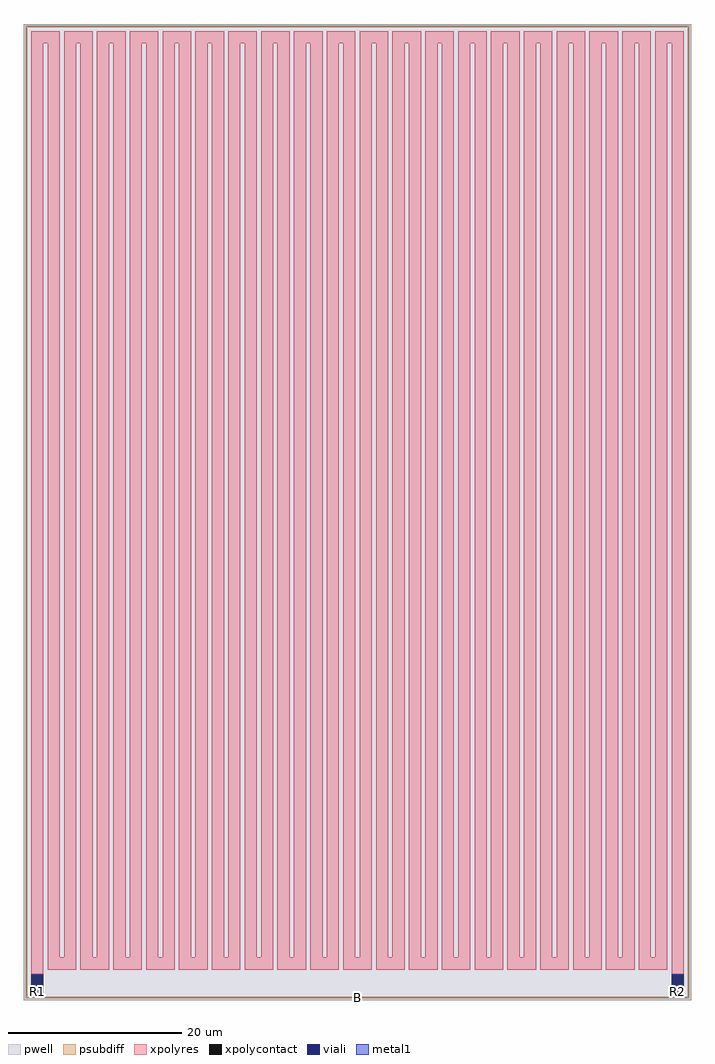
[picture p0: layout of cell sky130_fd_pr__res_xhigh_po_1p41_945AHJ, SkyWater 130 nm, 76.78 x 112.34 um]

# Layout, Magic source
magic
tech sky130A
magscale 1 2
<< pwell >>
rect -7678 -11234 7678 11234
<< psubdiff >>
rect -7642 11164 7642 11198
rect -7642 -11164 -7608 11164
rect 7608 -11164 7642 11164
rect -7642 -11198 7642 -11164
<< xpolycontact >>
rect -7512 -11068 -7230 -10636
rect 7230 -11068 7512 -10636
<< xpolyres >>
rect -7512 10786 -6852 11068
rect -7512 -10636 -7230 10786
rect -7134 -10250 -6852 10786
rect -6756 10786 -6096 11068
rect -6756 -10250 -6474 10786
rect -7134 -10532 -6474 -10250
rect -6378 -10250 -6096 10786
rect -6000 10786 -5340 11068
rect -6000 -10250 -5718 10786
rect -6378 -10532 -5718 -10250
rect -5622 -10250 -5340 10786
rect -5244 10786 -4584 11068
rect -5244 -10250 -4962 10786
rect -5622 -10532 -4962 -10250
rect -4866 -10250 -4584 10786
rect -4488 10786 -3828 11068
rect -4488 -10250 -4206 10786
rect -4866 -10532 -4206 -10250
rect -4110 -10250 -3828 10786
rect -3732 10786 -3072 11068
rect -3732 -10250 -3450 10786
rect -4110 -10532 -3450 -10250
rect -3354 -10250 -3072 10786
rect -2976 10786 -2316 11068
rect -2976 -10250 -2694 10786
rect -3354 -10532 -2694 -10250
rect -2598 -10250 -2316 10786
rect -2220 10786 -1560 11068
rect -2220 -10250 -1938 10786
rect -2598 -10532 -1938 -10250
rect -1842 -10250 -1560 10786
rect -1464 10786 -804 11068
rect -1464 -10250 -1182 10786
rect -1842 -10532 -1182 -10250
rect -1086 -10250 -804 10786
rect -708 10786 -48 11068
rect -708 -10250 -426 10786
rect -1086 -10532 -426 -10250
rect -330 -10250 -48 10786
rect 48 10786 708 11068
rect 48 -10250 330 10786
rect -330 -10532 330 -10250
rect 426 -10250 708 10786
rect 804 10786 1464 11068
rect 804 -10250 1086 10786
rect 426 -10532 1086 -10250
rect 1182 -10250 1464 10786
rect 1560 10786 2220 11068
rect 1560 -10250 1842 10786
rect 1182 -10532 1842 -10250
rect 1938 -10250 2220 10786
rect 2316 10786 2976 11068
rect 2316 -10250 2598 10786
rect 1938 -10532 2598 -10250
rect 2694 -10250 2976 10786
rect 3072 10786 3732 11068
rect 3072 -10250 3354 10786
rect 2694 -10532 3354 -10250
rect 3450 -10250 3732 10786
rect 3828 10786 4488 11068
rect 3828 -10250 4110 10786
rect 3450 -10532 4110 -10250
rect 4206 -10250 4488 10786
rect 4584 10786 5244 11068
rect 4584 -10250 4866 10786
rect 4206 -10532 4866 -10250
rect 4962 -10250 5244 10786
rect 5340 10786 6000 11068
rect 5340 -10250 5622 10786
rect 4962 -10532 5622 -10250
rect 5718 -10250 6000 10786
rect 6096 10786 6756 11068
rect 6096 -10250 6378 10786
rect 5718 -10532 6378 -10250
rect 6474 -10250 6756 10786
rect 6852 10786 7512 11068
rect 6852 -10250 7134 10786
rect 6474 -10532 7134 -10250
rect 7230 -10636 7512 10786
<< viali >>
rect -7496 -11050 -7246 -10653
rect 7246 -11050 7496 -10653
<< metal1 >>
rect -7502 -10653 -7240 -10641
rect -7502 -11050 -7496 -10653
rect -7246 -11050 -7240 -10653
rect -7502 -11062 -7240 -11050
rect 7240 -10653 7502 -10641
rect 7240 -11050 7246 -10653
rect 7496 -11050 7502 -10653
rect 7240 -11062 7502 -11050
<< labels >>
rlabel psubdiff 0 -11181 0 -11181 0 B
port 1 nsew
rlabel xpolycontact -7371 -11033 -7371 -11033 0 R1
port 2 nsew
rlabel xpolycontact 7371 -11033 7371 -11033 0 R2
port 3 nsew
<< properties >>
string FIXED_BBOX -7625 -11181 7625 11181
string gencell sky130_fd_pr__res_xhigh_po_1p41
string library sky130
string parameters w 1.410 l 108.0 m 1 nx 40 wmin 1.410 lmin 0.50 class resistor rho 2000 val 6.205meg dummy 0 dw 0.0 term 188.2 sterm 0.0 caplen 0 wmax 1.410 guard 1 glc 0 grc 0 gtc 0 gbc 0 compatible {sky130_fd_pr__res_xhigh_po_0p35  sky130_fd_pr__res_xhigh_po_0p69 sky130_fd_pr__res_xhigh_po_1p41  sky130_fd_pr__res_xhigh_po_2p85 sky130_fd_pr__res_xhigh_po_5p73} snake 1 full_metal 0 n_guard 0 hv_guard 0 vias 1 viagb 0 viagt 0 viagl 0 viagr 0 doports 1
<< end >>
